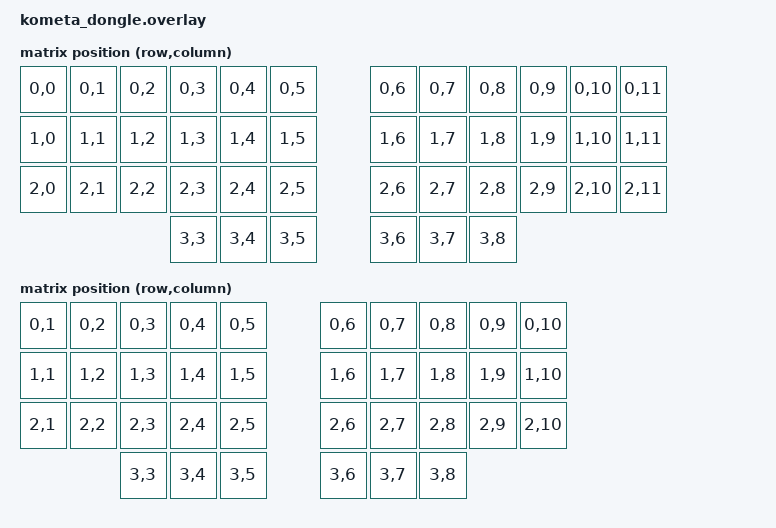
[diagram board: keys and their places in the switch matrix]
/*
 * Kometa dongle: keyless central for the XIAO BLE dongle hardware.
 *
 * Dedicated firmware running config/kometa.keymap (the `kometa_dongle`
 * shield name resolves to the `kometa` config candidates). Drives kometa
 * halves flashed in peripheral mode (CONFIG_ZMK_SPLIT_ROLE_CENTRAL=n,
 * the `kometa-dongle-left/right` artifacts).
 *
 * The physical layout inventory mirrors the corne halves exactly (same
 * layout nodes, same order, same transform maps), because the central
 * pushes its selected layout *index* to every connected half and each
 * half resolves that index against its own layout list. Kometa halves
 * have a single 42-key layout: they reject the pushed index and keep
 * their own. Corne halves would resolve index 1 to the 6-column layout
 * — the same one this dongle selects — so they would work too if ever
 * bonded (with kometa bindings).
 */

#include <dt-bindings/zmk/matrix_transform.h>
#include <layouts/foostan/corne/5column.dtsi>
#include <layouts/foostan/corne/6column.dtsi>

&foostan_corne_5col_layout {
    transform = <&kometa_dongle_five_col_transform>;
};

&foostan_corne_6col_layout {
    transform = <&kometa_dongle_transform>;
};

/ {
    chosen {
        zmk,kscan = &kometa_dongle_kscan;
        zmk,physical-layout = &foostan_corne_6col_layout;
    };

    kometa_dongle_kscan: kscan_1 {
        compatible = "zmk,kscan-mock";
        columns = <0>;
        rows = <0>;
        events = <0>;
    };

    // Transform maps copied verbatim from the corne shield (corne.dtsi).
    // The dongle's own (mock) kscan never feeds them, but layout-switch
    // position mapping must stay consistent with the halves.
    kometa_dongle_transform: dongle_transform {
        compatible = "zmk,matrix-transform";
        columns = <12>;
        rows = <4>;

        map = <
RC(0,0) RC(0,1) RC(0,2) RC(0,3) RC(0,4) RC(0,5)  RC(0,6) RC(0,7) RC(0,8) RC(0,9) RC(0,10) RC(0,11)
RC(1,0) RC(1,1) RC(1,2) RC(1,3) RC(1,4) RC(1,5)  RC(1,6) RC(1,7) RC(1,8) RC(1,9) RC(1,10) RC(1,11)
RC(2,0) RC(2,1) RC(2,2) RC(2,3) RC(2,4) RC(2,5)  RC(2,6) RC(2,7) RC(2,8) RC(2,9) RC(2,10) RC(2,11)
                        RC(3,3) RC(3,4) RC(3,5)  RC(3,6) RC(3,7) RC(3,8)
        >;
    };

    kometa_dongle_five_col_transform: dongle_five_col_transform {
        compatible = "zmk,matrix-transform";
        columns = <10>;
        rows = <4>;

        map = <
RC(0,1) RC(0,2) RC(0,3) RC(0,4) RC(0,5)  RC(0,6) RC(0,7) RC(0,8) RC(0,9) RC(0,10)
RC(1,1) RC(1,2) RC(1,3) RC(1,4) RC(1,5)  RC(1,6) RC(1,7) RC(1,8) RC(1,9) RC(1,10)
RC(2,1) RC(2,2) RC(2,3) RC(2,4) RC(2,5)  RC(2,6) RC(2,7) RC(2,8) RC(2,9) RC(2,10)
                        RC(3,3) RC(3,4) RC(3,5)  RC(3,6) RC(3,7) RC(3,8)
        >;
    };
};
